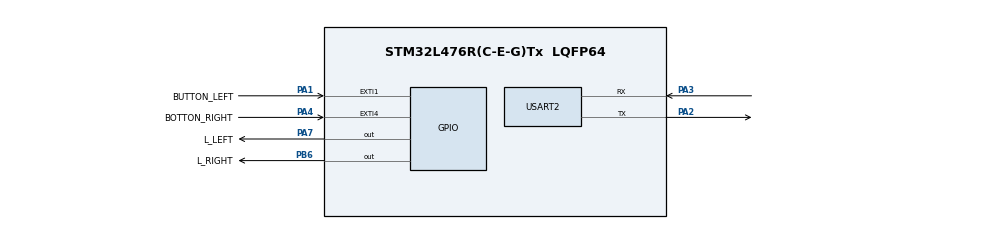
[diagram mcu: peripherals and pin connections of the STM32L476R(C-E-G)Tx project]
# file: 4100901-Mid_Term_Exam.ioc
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Mcu.Family=STM32L4
Mcu.Name=STM32L476R(C-E-G)Tx
Mcu.Package=LQFP64
NVIC.EXTI1_IRQn=true\:0\:0\:false\:false\:true\:true\:true\:true
NVIC.EXTI4_IRQn=true\:0\:0\:false\:false\:true\:true\:true\:true
NVIC.PriorityGroup=NVIC_PRIORITYGROUP_4
PA1.GPIO_Label=BUTTON_LEFT
PA1.GPIO_ModeDefaultEXTI=GPIO_MODE_IT_RISING_FALLING
PA1.Signal=GPXTI1
PA2.Mode=Asynchronous
PA2.Signal=USART2_TX
PA3.Mode=Asynchronous
PA3.Signal=USART2_RX
PA4.GPIO_Label=BOTTON_RIGHT
PA4.GPIO_ModeDefaultEXTI=GPIO_MODE_IT_RISING_FALLING
PA4.Signal=GPXTI4
PA7.GPIO_Label=L_LEFT
PA7.Signal=GPIO_Output
PB6.GPIO_Label=L_RIGHT
PB6.Signal=GPIO_Output
ProjectManager.HeapSize=0x200
ProjectManager.StackSize=0x400
ProjectManager.TargetToolchain=STM32CubeIDE
RCC.HSE_VALUE=8000000
RCC.HSI_VALUE=16000000
RCC.LSE_VALUE=32768
RCC.MSI_VALUE=4000000
RCC.VCOOutputFreq_Value=32000000
USART2.VirtualMode-Asynchronous=VM_ASYNC
board=custom

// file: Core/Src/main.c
/* USER CODE BEGIN Header */
/**
  ******************************************************************************
  * @file           : main.c
  * @brief          : Main program body
  ******************************************************************************
  * @attention
  *
  * Copyright (c) 2024 STMicroelectronics.
  * All rights reserved.
  *
  * This software is licensed under terms that can be found in the LICENSE file
  * in the root directory of this software component.
  * If no LICENSE file comes with this software, it is provided AS-IS.
  *
  ******************************************************************************
  */
/* USER CODE END Header */
#include "main.h"

UART_HandleTypeDef huart2;

/* USER CODE BEGIN PV */
int8_t left_pressed=0;
int8_t right_pressed=0;
/* USER CODE END PV */

void SystemClock_Config(void);
static void MX_GPIO_Init(void);
static void MX_USART2_UART_Init(void);

/* USER CODE BEGIN 0 */
void HAL_GPIO_EXTI_Callback(uint16_t GPIO_Pin)
{
	if (GPIO_Pin == BUTTON_LEFT_Pin){
		left_pressed=1;
	}
	if (GPIO_Pin == BOTTON_RIGHT_Pin){
			right_pressed=1;
		}
}
/* USER CODE END 0 */

int main(void)
{

  /* MCU Configuration--------------------------------------------------------*/

  /* Reset of all peripherals, Initializes the Flash interface and the Systick. */
  HAL_Init();

  /* Configure the system clock */
  SystemClock_Config();

  /* Initialize all configured peripherals */
  MX_GPIO_Init();
  MX_USART2_UART_Init();

  /* Infinite loop */
  /* USER CODE BEGIN WHILE */
  while (1)
  {
	  if (left_pressed !=0){//defición de los boton derecho para que parpade 3 veces
	  		 left_pressed=0;
	  		 for (uint8_t i=0; i<=3; i++){
	  			 HAL_GPIO_TogglePin(L_LEFT_GPIO_Port, L_LEFT_Pin);
	  			 HAL_Delay(250);
	  		 }
	  		 HAL_GPIO_WritePin(L_LEFT_GPIO_Port, L_LEFT_Pin, 1);

	  	  /* if (HAL_GPIO_ReadPin(BUTTON_LETF_GPIO_Port, BUTTON_LETF_Pin) !=0){
	  		  HAL_GPIO_WritePin(L_LEFT_GPIO_Port, L_LEFT_Pin, 1);
	  	  } else{
	  		  HAL_GPIO_WritePin(L_LEFT_GPIO_Port, L_LEFT_Pin, 0);*/

	  	  }

	  	 if (right_pressed !=0){//definición del boton izquierdo para que parpade 3 veces
	  	 		 right_pressed=0;
	  	 		 for (uint8_t i=0; i<=3; i++){
	  	 			 HAL_GPIO_TogglePin(L_RIGHT_GPIO_Port, L_RIGHT_Pin);
	  	 			 HAL_Delay(250);
	  	 		 }
	  	 		 HAL_GPIO_WritePin(L_RIGHT_GPIO_Port, L_RIGHT_Pin, 1);

	  	 	  /* if (HAL_GPIO_ReadPin(BUTTON_LETF_GPIO_Port, BUTTON_LETF_Pin) !=0){
	  	 		  HAL_GPIO_WritePin(L_LEFT_GPIO_Port, L_LEFT_Pin, 1);
	  	 	  } else{
	  	 		  HAL_GPIO_WritePin(L_LEFT_GPIO_Port, L_LEFT_Pin, 0);*/

	  	 	  }
    /* USER CODE END WHILE */

	    }
}

void SystemClock_Config(void)
{
  RCC_OscInitTypeDef RCC_OscInitStruct = {0};
  RCC_ClkInitTypeDef RCC_ClkInitStruct = {0};

  /** Configure the main internal regulator output voltage
  */
  if (HAL_PWREx_ControlVoltageScaling(PWR_REGULATOR_VOLTAGE_SCALE1) != HAL_OK)
  {
    Error_Handler();
  }

  /** Initializes the RCC Oscillators according to the specified parameters
  * in the RCC_OscInitTypeDef structure.
  */
  RCC_OscInitStruct.OscillatorType = RCC_OSCILLATORTYPE_MSI;
  RCC_OscInitStruct.MSIState = RCC_MSI_ON;
  RCC_OscInitStruct.MSICalibrationValue = 0;
  RCC_OscInitStruct.MSIClockRange = RCC_MSIRANGE_6;
  RCC_OscInitStruct.PLL.PLLState = RCC_PLL_NONE;
  if (HAL_RCC_OscConfig(&RCC_OscInitStruct) != HAL_OK)
  {
    Error_Handler();
  }

  /** Initializes the CPU, AHB and APB buses clocks
  */
  RCC_ClkInitStruct.ClockType = RCC_CLOCKTYPE_HCLK|RCC_CLOCKTYPE_SYSCLK
                              |RCC_CLOCKTYPE_PCLK1|RCC_CLOCKTYPE_PCLK2;
  RCC_ClkInitStruct.SYSCLKSource = RCC_SYSCLKSOURCE_MSI;
  RCC_ClkInitStruct.AHBCLKDivider = RCC_SYSCLK_DIV1;
  RCC_ClkInitStruct.APB1CLKDivider = RCC_HCLK_DIV1;
  RCC_ClkInitStruct.APB2CLKDivider = RCC_HCLK_DIV1;

  if (HAL_RCC_ClockConfig(&RCC_ClkInitStruct, FLASH_LATENCY_0) != HAL_OK)
  {
    Error_Handler();
  }
}

static void MX_USART2_UART_Init(void)
{

  huart2.Instance = USART2;
  huart2.Init.BaudRate = 115200;
  huart2.Init.WordLength = UART_WORDLENGTH_8B;
  huart2.Init.StopBits = UART_STOPBITS_1;
  huart2.Init.Parity = UART_PARITY_NONE;
  huart2.Init.Mode = UART_MODE_TX_RX;
  huart2.Init.HwFlowCtl = UART_HWCONTROL_NONE;
  huart2.Init.OverSampling = UART_OVERSAMPLING_16;
  huart2.Init.OneBitSampling = UART_ONE_BIT_SAMPLE_DISABLE;
  huart2.AdvancedInit.AdvFeatureInit = UART_ADVFEATURE_NO_INIT;
  if (HAL_UART_Init(&huart2) != HAL_OK)
  {
    Error_Handler();
  }

}

static void MX_GPIO_Init(void)
{
  GPIO_InitTypeDef GPIO_InitStruct = {0};

  /* GPIO Ports Clock Enable */
  __HAL_RCC_GPIOA_CLK_ENABLE();
  __HAL_RCC_GPIOB_CLK_ENABLE();

  /*Configure GPIO pin Output Level */
  HAL_GPIO_WritePin(L_LEFT_GPIO_Port, L_LEFT_Pin, GPIO_PIN_RESET);

  /*Configure GPIO pin Output Level */
  HAL_GPIO_WritePin(L_RIGHT_GPIO_Port, L_RIGHT_Pin, GPIO_PIN_RESET);

  /*Configure GPIO pins : BUTTON_LEFT_Pin BOTTON_RIGHT_Pin */
  GPIO_InitStruct.Pin = BUTTON_LEFT_Pin|BOTTON_RIGHT_Pin;
  GPIO_InitStruct.Mode = GPIO_MODE_IT_RISING_FALLING;
  GPIO_InitStruct.Pull = GPIO_NOPULL;
  HAL_GPIO_Init(GPIOA, &GPIO_InitStruct);

  /*Configure GPIO pin : L_LEFT_Pin */
  GPIO_InitStruct.Pin = L_LEFT_Pin;
  GPIO_InitStruct.Mode = GPIO_MODE_OUTPUT_PP;
  GPIO_InitStruct.Pull = GPIO_NOPULL;
  GPIO_InitStruct.Speed = GPIO_SPEED_FREQ_LOW;
  HAL_GPIO_Init(L_LEFT_GPIO_Port, &GPIO_InitStruct);

  /*Configure GPIO pin : L_RIGHT_Pin */
  GPIO_InitStruct.Pin = L_RIGHT_Pin;
  GPIO_InitStruct.Mode = GPIO_MODE_OUTPUT_PP;
  GPIO_InitStruct.Pull = GPIO_NOPULL;
  GPIO_InitStruct.Speed = GPIO_SPEED_FREQ_LOW;
  HAL_GPIO_Init(L_RIGHT_GPIO_Port, &GPIO_InitStruct);

  /* EXTI interrupt init*/
  HAL_NVIC_SetPriority(EXTI1_IRQn, 0, 0);
  HAL_NVIC_EnableIRQ(EXTI1_IRQn);

  HAL_NVIC_SetPriority(EXTI4_IRQn, 0, 0);
  HAL_NVIC_EnableIRQ(EXTI4_IRQn);

}

void Error_Handler(void)
{
  __disable_irq();
  while (1)
  {
  }
}
